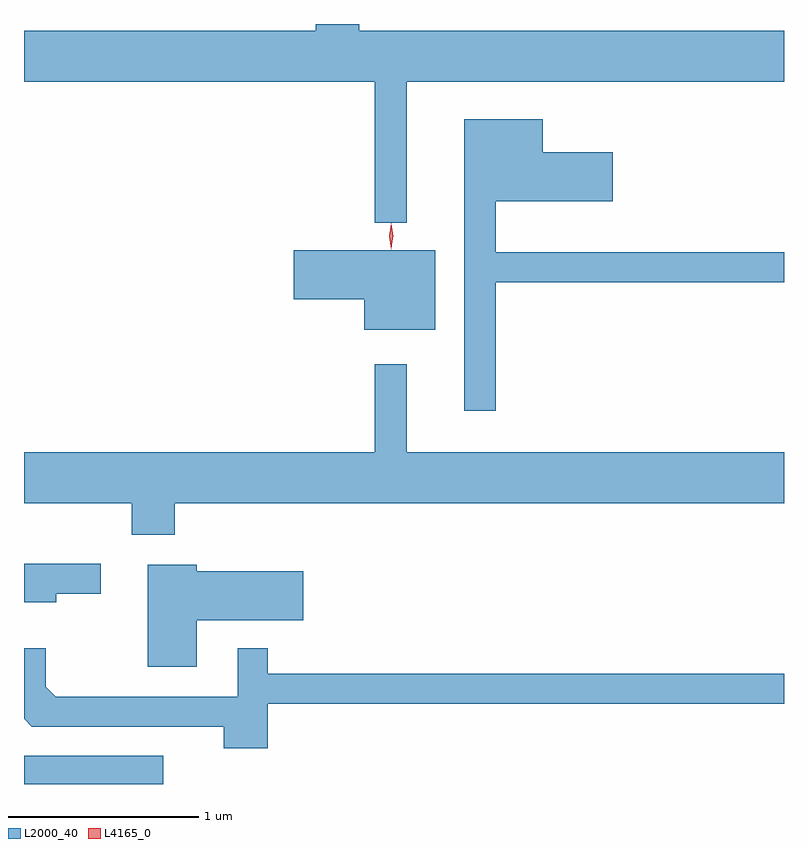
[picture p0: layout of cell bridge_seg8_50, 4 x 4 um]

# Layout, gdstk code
import gdstk
lib = gdstk.Library(unit=1e-6, precision=1e-09)
def R(c, l, rs):  # rectangles x0, y0, x1, y1
    for r in rs: c.add(gdstk.rectangle(r[:2], r[2:], *l))
def P(c, l, *ps):  # polygons
    for p in ps: c.add(gdstk.Polygon(p, *l))
L2000_40 = (2000, 40)
L4165_0 = (4165, 0)

bridge_seg8_50 = lib.new_cell('bridge_seg8_50')
R(bridge_seg8_50, L2000_40, [(1564.745,1910.419,1565.478,1910.569)])
P(bridge_seg8_50, L2000_40, [(1566.759,1914.116),(1568.745,1914.116),(1568.745,1914.384),(1566.509,1914.384),(1566.509,1914.419),(1566.281,1914.419),(1566.281,1914.384),(1564.745,1914.384),(1564.745,1914.116),(1566.591,1914.116),(1566.591,1913.373),(1566.759,1913.373)],
  [(1567.229,1913.061),(1568.745,1913.061),(1568.745,1913.219),(1567.229,1913.219),(1567.229,1913.486),(1567.844,1913.486),(1567.844,1913.744),(1567.474,1913.744),(1567.474,1913.919),(1567.061,1913.919),(1567.061,1912.383),(1567.229,1912.383)],
  [(1566.909,1913.229),(1566.166,1913.229),(1566.166,1912.971),(1566.536,1912.971),(1566.536,1912.811),(1566.909,1912.811)],
  [(1565.539,1911.896),(1568.745,1911.896),(1568.745,1912.164),(1566.759,1912.164),(1566.759,1912.628),(1566.591,1912.628),(1566.591,1912.164),(1564.745,1912.164),(1564.745,1911.896),(1565.311,1911.896),(1565.311,1911.731),(1565.539,1911.731)],
  [(1564.914,1911.421),(1565.148,1911.421),(1565.148,1911.579),(1564.745,1911.579),(1564.745,1911.376),(1564.914,1911.376)],
  [(1565.654,1911.281),(1566.214,1911.281),(1566.214,1911.539),(1565.654,1911.539),(1565.654,1911.574),(1565.396,1911.574),(1565.396,1911.036),(1565.654,1911.036)],
  [(1566.029,1910.841),(1568.745,1910.841),(1568.745,1910.999),(1566.029,1910.999),(1566.029,1911.133),(1565.871,1911.133),(1565.871,1910.879),(1564.912,1910.879),(1564.859,1910.932),(1564.859,1911.133),(1564.745,1911.133),(1564.745,1910.763),(1564.787,1910.721),(1565.796,1910.721),(1565.796,1910.606),(1566.029,1910.606)])
P(bridge_seg8_50, L4165_0, [(1566.677,1913.234),(1566.668,1913.302),(1566.677,1913.37),(1566.677,1913.37),(1566.678,1913.37),(1566.687,1913.302),(1566.678,1913.234),(1566.678,1913.234)],
  [(1566.678,1913.24),(1566.678,1913.241),(1566.668,1913.303),(1566.677,1913.366),(1566.677,1913.367),(1566.678,1913.366),(1566.688,1913.304),(1566.679,1913.241)])

lib.write_gds('bridge_seg8_50.gds')
